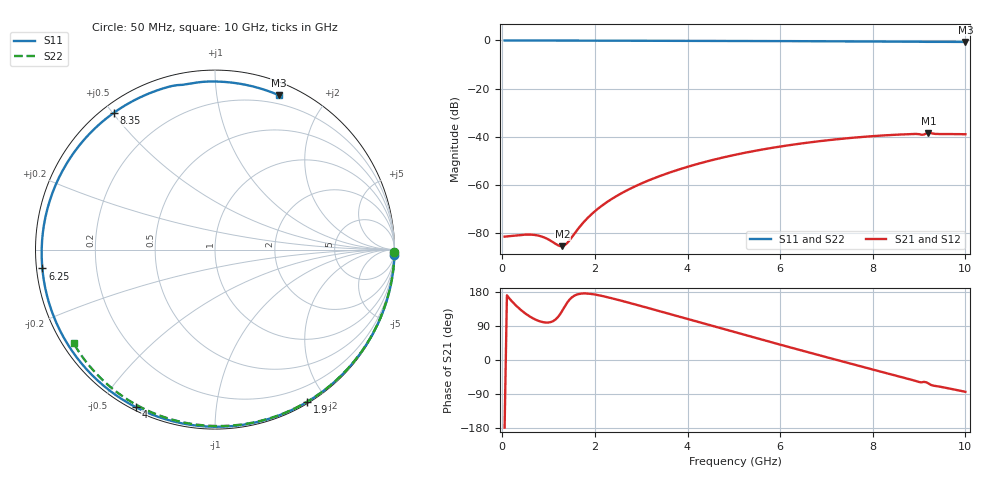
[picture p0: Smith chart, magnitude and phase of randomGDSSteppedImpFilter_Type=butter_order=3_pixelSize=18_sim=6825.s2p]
! freq	dB(S11)	phase(S11)	dB(S12)	phase(S12)
!  dB(S21)	phase(S21)	dB(S22)	phase(S22)
!S-par simulation data
#  GHz  S  DB  R 50
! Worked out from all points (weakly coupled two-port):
!   200 points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, 50 MHz to 10 GHz, reference 50 ohm
!   highest |S21| = -38.44 dB at 9.2 GHz (marker M1); lowest = -85.5 dB at 1.3 GHz (marker M2)
!   lowest |S11| = -0.6 dB at 10 GHz (marker M3), VSWR 27.93, Z = 5.76 + j74.3 ohm
!   |S11| at or under -10 dB: nowhere
!   |S22| runs from -0.5 to 0.0 dB; largest |S21 - S12| = 0
!   S11 on the Smith chart (normalised r, x): 50 MHz: 0, -72; 1.9 GHz: 0.02, -1.78; 4 GHz: 0.01, -0.62; 6.25 GHz: 0.02, -0.05; 8.35 GHz: 0.03, +0.50; 10 GHz: 0.12, +1.49
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0.05  -0.00 -1.6  -81.58 -178.5  -81.58 -178.5  -0.00 -0.8
0.65  -0.02 -20.7  -80.78 110.8  -80.78 110.8  -0.01 -11.0
1.3  -0.05 -40.8  -85.53 131.1  -85.53 131.1  -0.03 -21.9
1.55  -0.06 -48.4  -80.53 169.3  -80.53 169.3  -0.03 -26.0
1.75  -0.07 -54.3  -75.70 175.6  -75.70 175.6  -0.04 -29.3
1.9  -0.07 -58.8  -72.73 174.6  -72.73 174.6  -0.04 -31.8
2.2  -0.08 -67.5  -68.01 167.8  -68.01 167.8  -0.05 -36.7
2.55  -0.10 -77.5  -63.78 157.1  -63.78 157.1  -0.05 -42.3
2.95  -0.11 -88.6  -59.93 143.9  -59.93 143.9  -0.06 -48.7
3.4  -0.13 -100.8  -56.39 128.8  -56.39 128.8  -0.07 -55.7
4  -0.15 -116.6  -52.55 108.4  -52.55 108.4  -0.09 -64.9
5.05  -0.21 -143.3  -47.45 72.6  -47.45 72.6  -0.12 -80.4
5.65  -0.24 -158.4  -45.22 52.3  -45.22 52.3  -0.15 -88.9
6.25  -0.29 -173.8  -43.39 32.2  -43.39 32.2  -0.18 -97.2
6.7  -0.32 174.4  -42.23 17.3  -42.23 17.3  -0.20 -103.4
7.55  -0.39 150.9  -40.48 -10.6  -40.48 -10.6  -0.26 -114.7
8.35  -0.46 126.6  -39.35 -36.4  -39.35 -36.4  -0.32 -125.1
8.75  -0.50 113.4  -38.98 -49.2  -38.98 -49.2  -0.36 -130.3
9.1  -0.58 101.1  -39.14 -57.7  -39.14 -57.7  -0.39 -134.8
9.2  -0.58 97.8  -38.44 -61.6  -38.44 -61.6  -0.41 -136.1
9.6  -0.59 83.1  -38.91 -74.0  -38.91 -74.0  -0.45 -141.2
10  -0.62 67.6  -39.00 -83.9  -39.00 -83.9  -0.49 -146.4
